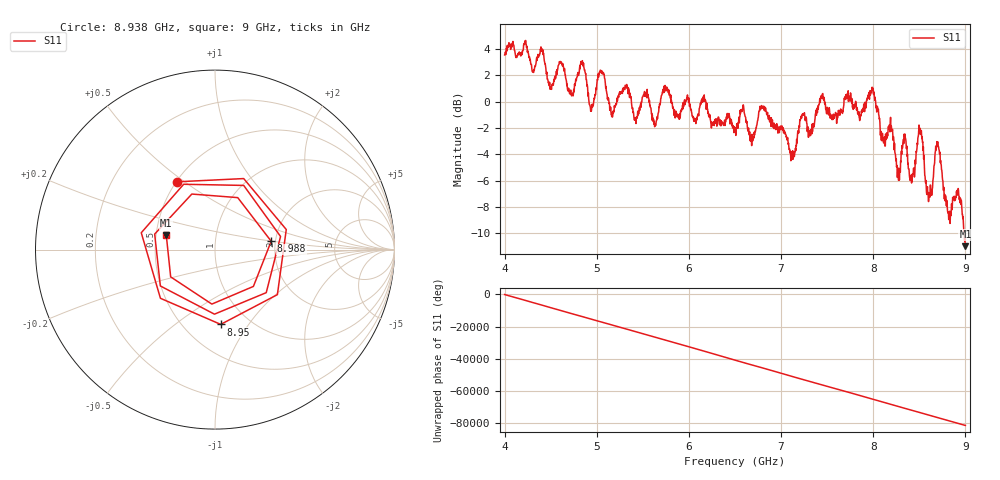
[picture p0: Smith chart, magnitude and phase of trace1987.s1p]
! Created with skrf 1.8.0 (http://scikit-rf.org).
# Hz S RI R 50.0
!freq ReS11 ImS11
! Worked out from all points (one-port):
!   1601 points, 4 GHz to 9 GHz, reference 50 ohm
!   lowest |S11| = -11.0 dB at 9 GHz (marker M1), VSWR 1.79, Z = 28.3 + j4.91 ohm
!   |S11| at or under -10 dB: 8.98398 GHz to 8.985139 GHz (1.159 MHz wide, 0.0129 % of centre); 8.988045 GHz to end of sweep
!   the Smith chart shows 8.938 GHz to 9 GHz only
!   S11 on the Smith chart (normalised r, x): 8.938 GHz: 0.50, +0.47; 8.95 GHz: 0.74, -0.75; 8.988 GHz: 1.90, +0.20; 9 GHz: 0.57, +0.10
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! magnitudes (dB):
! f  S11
! 4 GHz  3.5
! 4.403 GHz  3.9
! 4.506 GHz  1.0
! 4.625 GHz  2.8
! 4.728 GHz  0.4
! 4.847 GHz  2.9
! 4.941 GHz  -0.7
! 5.047 GHz  2.3
! 5.162 GHz  -1.1
! 5.25 GHz  0.7
! 5.875 GHz  -1.1
! 6.5 GHz  -2.1
! 6.806 GHz  -0.5
! 7.125 GHz  -3.7
! 7.228 GHz  -1.0
! 7.75 GHz  0.0
! 7.988 GHz  1.1
! 8.269 GHz  -5.4
! 8.375 GHz  -4.8
! 8.425 GHz  -5.5
! 8.509 GHz  -2.4
! 8.591 GHz  -7.0
! 8.7 GHz  -3.0
! 8.819 GHz  -9.0
! 8.938 GHz  -7.3
! 8.95 GHz  -7.6
! 8.988 GHz  -10.0
! 9 GHz  -11.0
